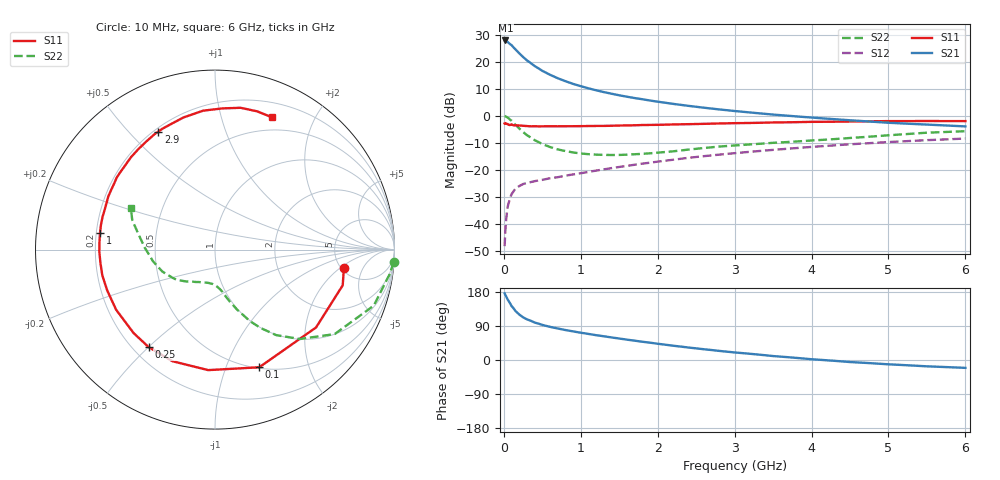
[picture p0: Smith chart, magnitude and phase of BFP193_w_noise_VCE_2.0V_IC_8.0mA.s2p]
! Infineon Technologies  Discrete & RF Semiconductors
! BFP193
! VCE =  2.0 V,  IC =  8.0 mA
! Common Emitter S-Parameters:  Jan 2017
# GHz  S  MA  R  50
!  f  S11  S21  S12  S22
! GHz  MAG  ANG  MAG  ANG  MAG  ANG  MAG  ANG
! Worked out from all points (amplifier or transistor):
!   77 points, 10 MHz to 6 GHz, reference 50 ohm
!   highest |S21| = 27.9 dB at 20 MHz (marker M1)
!   |S21| within 3 dB of that: start of sweep to 140.7 MHz
!   unconditionally stable (mu >= 1): 1.192 GHz to 2.737 GHz
!   at 130 MHz: K = 0.20, MSG = 26.5 dB, |S12| = -27.7 dB
!   at 2.2 GHz: K = 1.05, MAG = 9.0 dB, |S12| = -16.2 dB
!   at 6 GHz: K = 0.91, MSG = 2.2 dB, |S12| = -8.4 dB
!   lowest NFmin = 0.85 dB at 450 MHz
!   S11 on the Smith chart (normalised r, x): 10 MHz: 5.29, -2.25; 100 MHz: 0.51, -1.31; 250 MHz: 0.26, -0.50; 1 GHz: 0.22, +0.07; 2.9 GHz: 0.22, +0.61; 6 GHz: 0.35, +1.46
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0.01  0.7253 -8.0  24.6 175.9  0.0039 85.4  0.9981 -4.0
0.02  0.7389 -15.6  24.87 171.7  0.0077 85.7  0.9823 -8.1
0.05  0.7108 -37.6  23.36 159.5  0.0208 72.2  0.9382 -19.4
0.1  0.7005 -69.4  20.37 142.5  0.0356 60.5  0.8169 -35.1
0.15  0.6725 -93.2  17.07 129.5  0.045 50.9  0.6879 -46.4
0.2  0.6656 -110.9  14.42 120.1  0.0504 44.8  0.5861 -54.4
0.25  0.657 -124.3  12.3 112.6  0.055 41.4  0.5042 -59.9
0.3  0.6495 -134.3  10.66 107.3  0.0574 39.3  0.4415 -64.1
0.4  0.6448 -148.7  8.371 98.8  0.0621 37.4  0.3564 -69.8
0.5  0.6422 -159.2  6.83 92.6  0.0657 38.0  0.3023 -74.0
0.6  0.6441 -167.1  5.776 87.5  0.0704 38.6  0.2658 -77.3
0.7  0.6426 -173.3  4.983 83.2  0.0735 40.0  0.2403 -79.8
0.9  0.6452 176.3  3.913 75.5  0.0828 42.3  0.2112 -85.4
1  0.6473 171.7  3.547 72.0  0.087 43.4  0.2018 -88.4
1.1  0.6502 167.7  3.239 68.8  0.0923 44.2  0.1963 -90.9
1.5  0.6641 153.5  2.407 56.7  0.1137 46.2  0.1899 -104.1
2.1  0.6892 135.1  1.751 40.4  0.1486 45.9  0.2151 -123.6
2.9  0.7296 115.6  1.275 22.0  0.1984 41.3  0.2777 -144.2
3.1  0.7373 111.4  1.195 18.2  0.2107 39.7  0.2904 -149.0
4.1  0.7777 93.3  0.911 0.7  0.2731 30.7  0.3578 -171.9
5.1  0.8024 78.4  0.736 -12.4  0.334 19.9  0.4482 166.3
6  0.8025 66.9  0.64 -20.8  0.3817 9.7  0.522 153.9
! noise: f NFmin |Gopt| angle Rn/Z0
0.45  0.85  0.21  129  0.09
0.9  0.97  0.36  162  0.07
1.9  1.79  0.58  -148  0.12
2.4  2.19  0.64  -129  0.31
